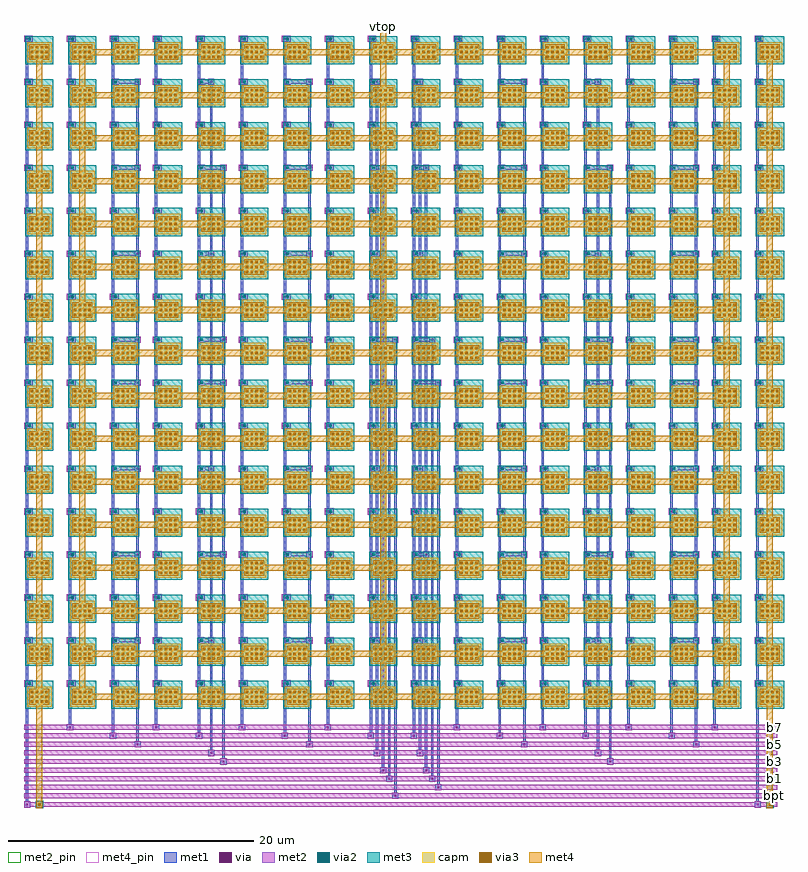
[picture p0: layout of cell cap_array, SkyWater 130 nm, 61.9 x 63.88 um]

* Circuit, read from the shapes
.subckt cap_array VGND b0 b1 b2 b3 b4 b5 b6 b7 bpt vtop
XC1 VGND VGND sky130_fd_pr__cap_mim_m3_1 w=2 l=1.65 m=32
XC2 vtop b7 sky130_fd_pr__cap_mim_m3_1 w=2 l=1.65 m=128
XC3 vtop b6 sky130_fd_pr__cap_mim_m3_1 w=2 l=1.65 m=64
XC4 vtop b5 sky130_fd_pr__cap_mim_m3_1 w=2 l=1.65 m=32
XC5 vtop b4 sky130_fd_pr__cap_mim_m3_1 w=2 l=1.65 m=16
XC6 vtop b3 sky130_fd_pr__cap_mim_m3_1 w=2 l=1.65 m=8
XC7 vtop b2 sky130_fd_pr__cap_mim_m3_1 w=2 l=1.65 m=4
XC8 vtop b1 sky130_fd_pr__cap_mim_m3_1 w=2 l=1.65 m=2
XC9 vtop bpt sky130_fd_pr__cap_mim_m3_1 w=2 l=1.65
XC10 vtop b0 sky130_fd_pr__cap_mim_m3_1 w=2 l=1.65
.ends

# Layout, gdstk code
import gdstk
lib = gdstk.Library(unit=1e-6, precision=1e-09)
def R(c, l, rs):  # rectangles x0, y0, x1, y1
    for r in rs: c.add(gdstk.rectangle(r[:2], r[2:], *l))
def A(c, l, x, y, w, h, nx, ny, dx, dy):  # array of equal rectangles
    R(c, l, [(x+i*dx, y+j*dy, x+i*dx+w, y+j*dy+h) for i in range(nx) for j in range(ny)])
met1 = (68, 20)
via = (68, 44)
met2_pin = (69, 16)
met2 = (69, 20)
via2 = (69, 44)
met3 = (70, 20)
via3 = (70, 44)
met4_pin = (71, 16)
met4 = (71, 20)
capm = (89, 44)

cap_array = lib.new_cell('cap_array')
A(cap_array, met1, 6.9, -2.45, 0.5, 0.5, 4, 1, 7, 0)
A(cap_array, met1, 31.4, -2.45, 0.5, 0.5, 4, 1, 7, 0)
A(cap_array, met1, 7.05, -1.95, 0.2, 3.76, 4, 1, 7, 0)
A(cap_array, met1, 31.55, -1.95, 0.2, 3.76, 4, 1, 7, 0)
A(cap_array, met1, 3.4, -1.75, 0.5, 0.5, 4, 1, 7, 0)
A(cap_array, met1, 34.9, -1.75, 0.5, 0.5, 4, 1, 7, 0)
A(cap_array, met1, 3.55, -1.25, 0.2, 3.06, 4, 1, 7, 0)
A(cap_array, met1, 35.05, -1.25, 0.2, 3.06, 4, 1, 7, 0)
A(cap_array, met1, -0.1, 1.81, 0.5, 0.5, 18, 4, 3.5, 7)
A(cap_array, met1, 0.05, 2.31, 0.2, 3, 1, 15, 0, 3.5)
A(cap_array, met1, 3.55, 2.31, 0.2, 3, 4, 7, 7, 3.5)
A(cap_array, met1, 7.05, 2.31, 0.2, 6.5, 4, 3, 7, 7)
A(cap_array, met1, 31.55, 2.31, 0.2, 6.5, 4, 3, 7, 7)
A(cap_array, met1, 35.05, 2.31, 0.2, 3, 4, 7, 7, 3.5)
A(cap_array, met1, 59.55, 2.31, 0.2, 3, 1, 15, 0, 3.5)
A(cap_array, met1, -0.1, 5.31, 0.5, 0.5, 1, 4, 0, 7)
A(cap_array, met1, 3.4, 5.31, 0.5, 0.5, 1, 4, 0, 7)
A(cap_array, met1, 8.9, 5.31, 0.5, 0.5, 1, 4, 0, 7)
A(cap_array, met1, 10.4, 5.31, 0.5, 0.5, 1, 4, 0, 7)
A(cap_array, met1, 17.4, 5.31, 0.5, 0.5, 1, 4, 0, 7)
A(cap_array, met1, 22.9, 5.31, 0.5, 0.5, 1, 4, 0, 7)
A(cap_array, met1, 24.4, 5.31, 0.5, 0.5, 1, 4, 0, 7)
A(cap_array, met1, 34.9, 5.31, 0.5, 0.5, 1, 4, 0, 7)
A(cap_array, met1, 40.4, 5.31, 0.5, 0.5, 1, 4, 0, 7)
A(cap_array, met1, 41.9, 5.31, 0.5, 0.5, 1, 4, 0, 7)
A(cap_array, met1, 48.9, 5.31, 0.5, 0.5, 1, 4, 0, 7)
A(cap_array, met1, 54.4, 5.31, 0.5, 0.5, 1, 4, 0, 7)
A(cap_array, met1, 55.9, 5.31, 0.5, 0.5, 1, 4, 0, 7)
A(cap_array, met1, 59.4, 5.31, 0.5, 0.5, 1, 4, 0, 7)
A(cap_array, met1, 9.05, 5.81, 0.2, 6.5, 1, 3, 0, 7)
A(cap_array, met1, 23.05, 5.81, 0.2, 6.5, 1, 3, 0, 7)
A(cap_array, met1, 40.55, 5.81, 0.2, 6.5, 1, 3, 0, 7)
A(cap_array, met1, 54.55, 5.81, 0.2, 6.5, 1, 3, 0, 7)
A(cap_array, met1, 7.05, 23.31, 0.2, 10, 4, 1, 7, 0)
A(cap_array, met1, 31.55, 23.31, 0.2, 10, 4, 1, 7, 0)
A(cap_array, met1, -0.1, 29.81, 0.5, 0.5, 1, 4, 0, 7)
A(cap_array, met1, 3.4, 29.81, 0.5, 0.5, 1, 4, 0, 7)
A(cap_array, met1, 8.9, 29.81, 0.5, 0.5, 1, 4, 0, 7)
A(cap_array, met1, 10.4, 29.81, 0.5, 0.5, 1, 4, 0, 7)
A(cap_array, met1, 17.4, 29.81, 0.5, 0.5, 1, 4, 0, 7)
A(cap_array, met1, 22.9, 29.81, 0.5, 0.5, 1, 4, 0, 7)
A(cap_array, met1, 24.4, 29.81, 0.5, 0.5, 1, 4, 0, 7)
A(cap_array, met1, 34.9, 29.81, 0.5, 0.5, 1, 4, 0, 7)
A(cap_array, met1, 40.4, 29.81, 0.5, 0.5, 1, 4, 0, 7)
A(cap_array, met1, 41.9, 29.81, 0.5, 0.5, 1, 4, 0, 7)
A(cap_array, met1, 48.9, 29.81, 0.5, 0.5, 1, 4, 0, 7)
A(cap_array, met1, 54.4, 29.81, 0.5, 0.5, 1, 4, 0, 7)
A(cap_array, met1, 55.9, 29.81, 0.5, 0.5, 1, 4, 0, 7)
A(cap_array, met1, 59.4, 29.81, 0.5, 0.5, 1, 4, 0, 7)
A(cap_array, met1, 3.55, 30.31, 0.2, 3, 4, 7, 7, 3.5)
A(cap_array, met1, 9.05, 30.31, 0.2, 6.5, 1, 3, 0, 7)
A(cap_array, met1, 23.05, 30.31, 0.2, 6.5, 1, 3, 0, 7)
A(cap_array, met1, 35.05, 30.31, 0.2, 3, 4, 7, 7, 3.5)
A(cap_array, met1, 40.55, 30.31, 0.2, 6.5, 1, 3, 0, 7)
A(cap_array, met1, 54.55, 30.31, 0.2, 6.5, 1, 3, 0, 7)
A(cap_array, met1, -0.1, 33.31, 0.5, 0.5, 18, 4, 3.5, 7)
A(cap_array, met1, 7.05, 33.81, 0.2, 6.5, 4, 3, 7, 7)
A(cap_array, met1, 31.55, 33.81, 0.2, 6.5, 4, 3, 7, 7)
R(cap_array, met1, [(-0.1,-8.05,0.4,-7.55), (59.4,-8.05,59.9,-7.55), (0.05,-7.55,0.25,1.81), (59.55,-7.55,59.75,1.81), (29.9,-7.35,30.4,-6.85), (30.05,-6.85,30.25,29.81), (33.4,-6.65,33.9,-6.15), (33.55,-6.15,33.75,26.31), (29.4,-5.95,29.9,-5.45), (32.9,-5.95,33.4,-5.45), (29.55,-5.45,29.75,26.31), (33.05,-5.45,33.25,29.81), (28.9,-5.25,29.4,-4.75), (32.4,-5.25,32.9,-4.75), (29.05,-4.75,29.25,12.31), (32.55,-4.75,32.75,12.31), (15.9,-4.55,16.4,-4.05), (47.4,-4.55,47.9,-4.05), (16.05,-4.05,16.25,12.31), (47.55,-4.05,47.75,12.31), (14.9,-3.85,15.4,-3.35), (28.4,-3.85,28.9,-3.35), (31.9,-3.85,32.4,-3.35), (46.4,-3.85,46.9,-3.35), (15.05,-3.35,15.25,5.31), (28.55,-3.35,28.75,5.31), (32.05,-3.35,32.25,5.31), (46.55,-3.35,46.75,5.31), (8.9,-3.15,9.4,-2.65), (22.9,-3.15,23.4,-2.65), (40.4,-3.15,40.9,-2.65), (54.4,-3.15,54.9,-2.65), (9.05,-2.65,9.25,5.31), (23.05,-2.65,23.25,5.31), (40.55,-2.65,40.75,5.31), (54.55,-2.65,54.75,5.31), (14.9,5.31,15.4,5.81), (28.4,5.31,28.9,5.81), (31.9,5.31,32.4,5.81), (46.4,5.31,46.9,5.81), (15.05,5.81,15.25,19.31), (28.55,5.81,28.75,19.31), (32.05,5.81,32.25,19.31), (46.55,5.81,46.75,19.31), (15.9,12.31,16.4,12.81), (28.9,12.31,29.4,12.81), (32.4,12.31,32.9,12.81), (47.4,12.31,47.9,12.81), (16.05,12.81,16.25,26.31), (29.05,12.81,29.25,43.81), (32.55,12.81,32.75,43.81), (47.55,12.81,47.75,26.31), (14.9,19.31,15.4,19.81), (28.4,19.31,28.9,19.81), (31.9,19.31,32.4,19.81), (46.4,19.31,46.9,19.81), (15.05,19.81,15.25,36.81), (28.55,19.81,28.75,36.81), (32.05,19.81,32.25,36.81), (46.55,19.81,46.75,36.81), (15.9,26.31,16.4,26.81), (29.4,26.31,29.9,26.81), (33.4,26.31,33.9,26.81), (47.4,26.31,47.9,26.81), (3.55,26.81,3.75,29.81), (9.05,26.81,9.25,29.81), (10.55,26.81,10.75,29.81), (16.05,26.81,16.25,29.81), (17.55,26.81,17.75,29.81), (23.05,26.81,23.25,29.81), (24.55,26.81,24.75,29.81), (35.05,26.81,35.25,29.81), (40.55,26.81,40.75,29.81), (42.05,26.81,42.25,29.81), (47.55,26.81,47.75,29.81), (49.05,26.81,49.25,29.81), (54.55,26.81,54.75,29.81), (56.05,26.81,56.25,29.81), (15.9,29.81,16.4,30.31), (29.9,29.81,30.4,30.31), (32.9,29.81,33.4,30.31), (47.4,29.81,47.9,30.31), (16.05,30.31,16.25,43.81), (47.55,30.31,47.75,43.81), (14.9,36.81,15.4,37.31), (28.4,36.81,28.9,37.31), (31.9,36.81,32.4,37.31), (46.4,36.81,46.9,37.31), (15.05,37.31,15.25,50.81), (28.55,37.31,28.75,50.81), (32.05,37.31,32.25,50.81), (46.55,37.31,46.75,50.81), (15.9,43.81,16.4,44.31), (28.9,43.81,29.4,44.31), (32.4,43.81,32.9,44.31), (47.4,43.81,47.9,44.31), (14.9,50.81,15.4,51.31), (28.4,50.81,28.9,51.31), (31.9,50.81,32.4,51.31), (46.4,50.81,46.9,51.31)])
A(cap_array, via, 7.075, -2.275, 0.15, 0.15, 4, 1, 7, 0)
A(cap_array, via, 31.575, -2.275, 0.15, 0.15, 4, 1, 7, 0)
A(cap_array, via, 3.575, -1.575, 0.15, 0.15, 4, 1, 7, 0)
A(cap_array, via, 35.075, -1.575, 0.15, 0.15, 4, 1, 7, 0)
A(cap_array, via, 0.075, 1.985, 0.15, 0.15, 18, 4, 3.5, 7)
A(cap_array, via, 0.075, 5.485, 0.15, 0.15, 1, 4, 0, 7)
A(cap_array, via, 3.575, 5.485, 0.15, 0.15, 1, 4, 0, 7)
A(cap_array, via, 9.075, 5.485, 0.15, 0.15, 1, 4, 0, 7)
A(cap_array, via, 10.575, 5.485, 0.15, 0.15, 1, 4, 0, 7)
A(cap_array, via, 17.575, 5.485, 0.15, 0.15, 1, 4, 0, 7)
A(cap_array, via, 23.075, 5.485, 0.15, 0.15, 1, 4, 0, 7)
A(cap_array, via, 24.575, 5.485, 0.15, 0.15, 1, 4, 0, 7)
A(cap_array, via, 35.075, 5.485, 0.15, 0.15, 1, 4, 0, 7)
A(cap_array, via, 40.575, 5.485, 0.15, 0.15, 1, 4, 0, 7)
A(cap_array, via, 42.075, 5.485, 0.15, 0.15, 1, 4, 0, 7)
A(cap_array, via, 49.075, 5.485, 0.15, 0.15, 1, 4, 0, 7)
A(cap_array, via, 54.575, 5.485, 0.15, 0.15, 1, 4, 0, 7)
A(cap_array, via, 56.075, 5.485, 0.15, 0.15, 1, 4, 0, 7)
A(cap_array, via, 59.575, 5.485, 0.15, 0.15, 1, 4, 0, 7)
A(cap_array, via, 0.075, 29.985, 0.15, 0.15, 1, 4, 0, 7)
A(cap_array, via, 3.575, 29.985, 0.15, 0.15, 1, 4, 0, 7)
A(cap_array, via, 9.075, 29.985, 0.15, 0.15, 1, 4, 0, 7)
A(cap_array, via, 10.575, 29.985, 0.15, 0.15, 1, 4, 0, 7)
A(cap_array, via, 17.575, 29.985, 0.15, 0.15, 1, 4, 0, 7)
A(cap_array, via, 23.075, 29.985, 0.15, 0.15, 1, 4, 0, 7)
A(cap_array, via, 24.575, 29.985, 0.15, 0.15, 1, 4, 0, 7)
A(cap_array, via, 35.075, 29.985, 0.15, 0.15, 1, 4, 0, 7)
A(cap_array, via, 40.575, 29.985, 0.15, 0.15, 1, 4, 0, 7)
A(cap_array, via, 42.075, 29.985, 0.15, 0.15, 1, 4, 0, 7)
A(cap_array, via, 49.075, 29.985, 0.15, 0.15, 1, 4, 0, 7)
A(cap_array, via, 54.575, 29.985, 0.15, 0.15, 1, 4, 0, 7)
A(cap_array, via, 56.075, 29.985, 0.15, 0.15, 1, 4, 0, 7)
A(cap_array, via, 59.575, 29.985, 0.15, 0.15, 1, 4, 0, 7)
A(cap_array, via, 0.075, 33.485, 0.15, 0.15, 18, 4, 3.5, 7)
R(cap_array, via, [(0.075,-7.875,0.225,-7.725), (59.575,-7.875,59.725,-7.725), (30.075,-7.175,30.225,-7.025), (33.575,-6.475,33.725,-6.325), (29.575,-5.775,29.725,-5.625), (33.075,-5.775,33.225,-5.625), (29.075,-5.075,29.225,-4.925), (32.575,-5.075,32.725,-4.925), (16.075,-4.375,16.225,-4.225), (47.575,-4.375,47.725,-4.225), (15.075,-3.675,15.225,-3.525), (28.575,-3.675,28.725,-3.525), (32.075,-3.675,32.225,-3.525), (46.575,-3.675,46.725,-3.525), (9.075,-2.975,9.225,-2.825), (23.075,-2.975,23.225,-2.825), (40.575,-2.975,40.725,-2.825), (54.575,-2.975,54.725,-2.825), (15.075,5.485,15.225,5.635), (28.575,5.485,28.725,5.635), (32.075,5.485,32.225,5.635), (46.575,5.485,46.725,5.635), (16.075,12.485,16.225,12.635), (29.075,12.485,29.225,12.635), (32.575,12.485,32.725,12.635), (47.575,12.485,47.725,12.635), (15.075,19.485,15.225,19.635), (28.575,19.485,28.725,19.635), (32.075,19.485,32.225,19.635), (46.575,19.485,46.725,19.635), (16.075,26.485,16.225,26.635), (29.575,26.485,29.725,26.635), (33.575,26.485,33.725,26.635), (47.575,26.485,47.725,26.635), (16.075,29.985,16.225,30.135), (30.075,29.985,30.225,30.135), (33.075,29.985,33.225,30.135), (47.575,29.985,47.725,30.135), (15.075,36.985,15.225,37.135), (28.575,36.985,28.725,37.135), (32.075,36.985,32.225,37.135), (46.575,36.985,46.725,37.135), (16.075,43.985,16.225,44.135), (29.075,43.985,29.225,44.135), (32.575,43.985,32.725,44.135), (47.575,43.985,47.725,44.135), (15.075,50.985,15.225,51.135), (28.575,50.985,28.725,51.135), (32.075,50.985,32.225,51.135), (46.575,50.985,46.725,51.135)])
A(cap_array, met2_pin, 60.75, -8, 0.5, 0.4, 1, 10, 0, 0.7)
A(cap_array, met2, -0.1, -8, 61.35, 0.4, 1, 10, 0, 0.7)
A(cap_array, met2, 6.9, -2.45, 0.5, 0.05, 4, 2, 7, 0.45)
A(cap_array, met2, 31.4, -2.45, 0.5, 0.05, 4, 2, 7, 0.45)
A(cap_array, met2, 3.4, -1.75, 0.5, 0.05, 4, 2, 7, 0.45)
A(cap_array, met2, 34.9, -1.75, 0.5, 0.05, 4, 2, 7, 0.45)
A(cap_array, met2, -0.1, 1.81, 0.71, 0.5, 18, 4, 3.5, 7)
A(cap_array, met2, -0.1, 5.31, 0.71, 0.5, 1, 4, 0, 7)
A(cap_array, met2, 3.4, 5.31, 0.71, 0.5, 4, 4, 7, 7)
A(cap_array, met2, 34.9, 5.31, 0.71, 0.5, 4, 4, 7, 7)
A(cap_array, met2, 59.4, 5.31, 0.71, 0.5, 1, 4, 0, 7)
A(cap_array, met2, 7.11, 12.41, 2.29, 0.3, 3, 2, 7, 14)
A(cap_array, met2, 38.61, 12.41, 2.29, 0.3, 3, 2, 7, 17.5)
A(cap_array, met2, 31.61, 26.41, 2.29, 0.3, 4, 1, 7, 0)
A(cap_array, met2, -0.1, 29.81, 0.71, 0.5, 1, 4, 0, 7)
A(cap_array, met2, 3.4, 29.81, 0.71, 0.5, 4, 4, 7, 7)
A(cap_array, met2, 34.9, 29.81, 0.71, 0.5, 4, 4, 7, 7)
A(cap_array, met2, 59.4, 29.81, 0.71, 0.5, 1, 4, 0, 7)
A(cap_array, met2, 7.11, 29.91, 2.29, 0.3, 4, 1, 7, 0)
A(cap_array, met2, -0.1, 33.31, 0.71, 0.5, 18, 4, 3.5, 7)
A(cap_array, met2, 7.11, 43.91, 2.29, 0.3, 3, 1, 7, 0)
A(cap_array, met2, 38.61, 43.91, 2.29, 0.3, 3, 1, 7, 0)
R(cap_array, met2, [(-0.1,-8.05,0.4,-8), (0.9,-8.05,1.4,-8), (59.4,-8.05,59.9,-8), (60.4,-8.05,60.9,-8), (-0.1,-7.6,0.4,-7.55), (0.9,-7.6,1.4,-7.55), (59.4,-7.6,59.9,-7.55), (60.4,-7.6,60.9,-7.55), (29.9,-7.35,30.4,-7.3), (29.9,-6.9,30.4,-6.85), (33.4,-6.65,33.9,-6.6), (33.4,-6.2,33.9,-6.15), (29.4,-5.95,29.9,-5.9), (32.9,-5.95,33.4,-5.9), (29.4,-5.5,29.9,-5.45), (32.9,-5.5,33.4,-5.45), (28.9,-5.25,29.4,-5.2), (32.4,-5.25,32.9,-5.2), (28.9,-4.8,29.4,-4.75), (32.4,-4.8,32.9,-4.75), (15.9,-4.55,16.4,-4.5), (47.4,-4.55,47.9,-4.5), (15.9,-4.1,16.4,-4.05), (47.4,-4.1,47.9,-4.05), (14.9,-3.85,15.4,-3.8), (28.4,-3.85,28.9,-3.8), (31.9,-3.85,32.4,-3.8), (46.4,-3.85,46.9,-3.8), (14.9,-3.4,15.4,-3.35), (28.4,-3.4,28.9,-3.35), (31.9,-3.4,32.4,-3.35), (46.4,-3.4,46.9,-3.35), (8.9,-3.15,9.4,-3.1), (22.9,-3.15,23.4,-3.1), (40.4,-3.15,40.9,-3.1), (54.4,-3.15,54.9,-3.1), (8.9,-2.7,9.4,-2.65), (22.9,-2.7,23.4,-2.65), (40.4,-2.7,40.9,-2.65), (54.4,-2.7,54.9,-2.65), (7.11,5.31,7.61,5.41), (8.9,5.31,9.4,5.41), (14.11,5.31,14.61,5.41), (14.9,5.31,15.4,5.41), (21.11,5.31,21.61,5.41), (22.9,5.31,23.4,5.41), (28.11,5.31,28.9,5.81), (31.61,5.31,32.4,5.81), (38.61,5.31,39.11,5.41), (40.4,5.31,40.9,5.41), (45.61,5.31,46.11,5.41), (46.4,5.31,46.9,5.41), (52.61,5.31,53.11,5.41), (54.4,5.31,54.9,5.41), (7.11,5.41,9.4,5.71), (14.11,5.41,15.4,5.71), (21.11,5.41,23.4,5.71), (38.61,5.41,40.9,5.71), (45.61,5.41,46.9,5.71), (52.61,5.41,54.9,5.71), (7.11,5.71,7.61,5.81), (8.9,5.71,9.4,5.81), (14.11,5.71,14.61,5.81), (14.9,5.71,15.4,5.81), (21.11,5.71,21.61,5.81), (22.9,5.71,23.4,5.81), (38.61,5.71,39.11,5.81), (40.4,5.71,40.9,5.81), (45.61,5.71,46.11,5.81), (46.4,5.71,46.9,5.81), (52.61,5.71,53.11,5.81), (54.4,5.71,54.9,5.81), (7.11,12.31,7.61,12.41), (8.9,12.31,9.4,12.41), (14.11,12.31,14.61,12.41), (15.9,12.31,16.4,12.41), (21.11,12.31,21.61,12.41), (22.9,12.31,23.4,12.41), (28.11,12.31,28.61,12.41), (28.9,12.31,29.4,12.41), (31.61,12.31,32.11,12.41), (32.4,12.31,32.9,12.41), (38.61,12.31,39.11,12.41), (40.4,12.31,40.9,12.41), (45.61,12.31,46.11,12.41), (47.4,12.31,47.9,12.41), (52.61,12.31,53.11,12.41), (54.4,12.31,54.9,12.41), (28.11,12.41,29.4,12.71), (31.61,12.41,32.9,12.71), (7.11,12.71,7.61,12.81), (8.9,12.71,9.4,12.81), (14.11,12.71,14.61,12.81), (15.9,12.71,16.4,12.81), (21.11,12.71,21.61,12.81), (22.9,12.71,23.4,12.81), (28.11,12.71,28.61,12.81), (28.9,12.71,29.4,12.81), (31.61,12.71,32.11,12.81), (32.4,12.71,32.9,12.81), (38.61,12.71,39.11,12.81), (40.4,12.71,40.9,12.81), (45.61,12.71,46.11,12.81), (47.4,12.71,47.9,12.81), (52.61,12.71,53.11,12.81), (54.4,12.71,54.9,12.81), (7.11,19.31,7.61,19.41), (8.9,19.31,9.4,19.41), (14.11,19.31,14.61,19.41), (14.9,19.31,15.4,19.41), (21.11,19.31,21.61,19.41), (22.9,19.31,23.4,19.41), (28.11,19.31,28.9,19.81), (31.61,19.31,32.4,19.81), (38.61,19.31,39.11,19.41), (40.4,19.31,40.9,19.41), (45.61,19.31,46.11,19.41), (46.4,19.31,46.9,19.41), (52.61,19.31,53.11,19.41), (54.4,19.31,54.9,19.41), (7.11,19.41,9.4,19.71), (14.11,19.41,15.4,19.71), (21.11,19.41,23.4,19.71), (38.61,19.41,40.9,19.71), (45.61,19.41,46.9,19.71), (52.61,19.41,54.9,19.71), (7.11,19.71,7.61,19.81), (8.9,19.71,9.4,19.81), (14.11,19.71,14.61,19.81), (14.9,19.71,15.4,19.81), (21.11,19.71,21.61,19.81), (22.9,19.71,23.4,19.81), (38.61,19.71,39.11,19.81), (40.4,19.71,40.9,19.81), (45.61,19.71,46.11,19.81), (46.4,19.71,46.9,19.81), (52.61,19.71,53.11,19.81), (54.4,19.71,54.9,19.81), (7.11,26.31,7.61,26.41), (8.9,26.31,9.4,26.41), (14.11,26.31,14.61,26.41), (15.9,26.31,16.4,26.41), (21.11,26.31,21.61,26.41), (22.9,26.31,23.4,26.41), (28.11,26.31,28.61,26.41), (29.4,26.31,29.9,26.41), (31.61,26.31,32.11,26.41), (33.4,26.31,33.9,26.41), (38.61,26.31,39.11,26.41), (40.4,26.31,40.9,26.41), (45.61,26.31,46.11,26.41), (47.4,26.31,47.9,26.41), (52.61,26.31,53.11,26.41), (54.4,26.31,54.9,26.41), (28.11,26.41,29.9,26.71), (7.11,26.71,7.61,26.81), (8.9,26.71,9.4,26.81), (14.11,26.71,14.61,26.81), (15.9,26.71,16.4,26.81), (21.11,26.71,21.61,26.81), (22.9,26.71,23.4,26.81), (28.11,26.71,28.61,26.81), (29.4,26.71,29.9,26.81), (31.61,26.71,32.11,26.81), (33.4,26.71,33.9,26.81), (38.61,26.71,39.11,26.81), (40.4,26.71,40.9,26.81), (45.61,26.71,46.11,26.81), (47.4,26.71,47.9,26.81), (52.61,26.71,53.11,26.81), (54.4,26.71,54.9,26.81), (7.11,29.81,7.61,29.91), (8.9,29.81,9.4,29.91), (14.11,29.81,14.61,29.91), (15.9,29.81,16.4,29.91), (21.11,29.81,21.61,29.91), (22.9,29.81,23.4,29.91), (28.11,29.81,28.61,29.91), (29.9,29.81,30.4,29.91), (31.61,29.81,32.11,29.91), (32.9,29.81,33.4,29.91), (38.61,29.81,39.11,29.91), (40.4,29.81,40.9,29.91), (45.61,29.81,46.11,29.91), (47.4,29.81,47.9,29.91), (52.61,29.81,53.11,29.91), (54.4,29.81,54.9,29.91), (31.61,29.91,33.4,30.21), (7.11,30.21,7.61,30.31), (8.9,30.21,9.4,30.31), (14.11,30.21,14.61,30.31), (15.9,30.21,16.4,30.31), (21.11,30.21,21.61,30.31), (22.9,30.21,23.4,30.31), (28.11,30.21,28.61,30.31), (29.9,30.21,30.4,30.31), (31.61,30.21,32.11,30.31), (32.9,30.21,33.4,30.31), (38.61,30.21,39.11,30.31), (40.4,30.21,40.9,30.31), (45.61,30.21,46.11,30.31), (47.4,30.21,47.9,30.31), (52.61,30.21,53.11,30.31), (54.4,30.21,54.9,30.31), (7.11,36.81,7.61,36.91), (8.9,36.81,9.4,36.91), (14.11,36.81,14.61,36.91), (14.9,36.81,15.4,36.91), (21.11,36.81,21.61,36.91), (22.9,36.81,23.4,36.91), (28.11,36.81,28.9,37.31), (31.61,36.81,32.4,37.31), (38.61,36.81,39.11,36.91), (40.4,36.81,40.9,36.91), (45.61,36.81,46.11,36.91), (46.4,36.81,46.9,36.91), (52.61,36.81,53.11,36.91), (54.4,36.81,54.9,36.91), (7.11,36.91,9.4,37.21), (14.11,36.91,15.4,37.21), (21.11,36.91,23.4,37.21), (38.61,36.91,40.9,37.21), (45.61,36.91,46.9,37.21), (52.61,36.91,54.9,37.21), (7.11,37.21,7.61,37.31), (8.9,37.21,9.4,37.31), (14.11,37.21,14.61,37.31), (14.9,37.21,15.4,37.31), (21.11,37.21,21.61,37.31), (22.9,37.21,23.4,37.31), (38.61,37.21,39.11,37.31), (40.4,37.21,40.9,37.31), (45.61,37.21,46.11,37.31), (46.4,37.21,46.9,37.31), (52.61,37.21,53.11,37.31), (54.4,37.21,54.9,37.31), (7.11,43.81,7.61,43.91), (8.9,43.81,9.4,43.91), (14.11,43.81,14.61,43.91), (15.9,43.81,16.4,43.91), (21.11,43.81,21.61,43.91), (22.9,43.81,23.4,43.91), (28.11,43.81,28.61,43.91), (28.9,43.81,29.4,43.91), (31.61,43.81,32.11,43.91), (32.4,43.81,32.9,43.91), (38.61,43.81,39.11,43.91), (40.4,43.81,40.9,43.91), (45.61,43.81,46.11,43.91), (47.4,43.81,47.9,43.91), (52.61,43.81,53.11,43.91), (54.4,43.81,54.9,43.91), (28.11,43.91,29.4,44.21), (31.61,43.91,32.9,44.21), (7.11,44.21,7.61,44.31), (8.9,44.21,9.4,44.31), (14.11,44.21,14.61,44.31), (15.9,44.21,16.4,44.31), (21.11,44.21,21.61,44.31), (22.9,44.21,23.4,44.31), (28.11,44.21,28.61,44.31), (28.9,44.21,29.4,44.31), (31.61,44.21,32.11,44.31), (32.4,44.21,32.9,44.31), (38.61,44.21,39.11,44.31), (40.4,44.21,40.9,44.31), (45.61,44.21,46.11,44.31), (47.4,44.21,47.9,44.31), (52.61,44.21,53.11,44.31), (54.4,44.21,54.9,44.31), (7.11,50.81,7.61,50.91), (8.9,50.81,9.4,50.91), (14.11,50.81,14.61,50.91), (14.9,50.81,15.4,50.91), (21.11,50.81,21.61,50.91), (22.9,50.81,23.4,50.91), (28.11,50.81,28.9,51.31), (31.61,50.81,32.4,51.31), (38.61,50.81,39.11,50.91), (40.4,50.81,40.9,50.91), (45.61,50.81,46.11,50.91), (46.4,50.81,46.9,50.91), (52.61,50.81,53.11,50.91), (54.4,50.81,54.9,50.91), (7.11,50.91,9.4,51.21), (14.11,50.91,15.4,51.21), (21.11,50.91,23.4,51.21), (38.61,50.91,40.9,51.21), (45.61,50.91,46.9,51.21), (52.61,50.91,54.9,51.21), (7.11,51.21,7.61,51.31), (8.9,51.21,9.4,51.31), (14.11,51.21,14.61,51.31), (14.9,51.21,15.4,51.31), (21.11,51.21,21.61,51.31), (22.9,51.21,23.4,51.31), (38.61,51.21,39.11,51.31), (40.4,51.21,40.9,51.31), (45.61,51.21,46.11,51.31), (46.4,51.21,46.9,51.31), (52.61,51.21,53.11,51.31), (54.4,51.21,54.9,51.31)])
A(cap_array, via2, 0.26, 1.96, 0.2, 0.2, 18, 16, 3.5, 3.5)
R(cap_array, via2, [(1.05,-7.9,1.25,-7.7), (60.55,-7.9,60.75,-7.7)])
A(cap_array, met3, 0, 0, 2.3, 2.285, 18, 16, 3.5, 3.5)
R(cap_array, met3, [(0.85,-8.1,1.45,-7.5), (60.35,-8.1,60.95,-7.5)])
A(cap_array, via3, 0.45, 0.475, 0.2, 0.2, 4, 3, 0.4, 0.4)
A(cap_array, via3, 3.95, 0.475, 0.2, 0.2, 4, 3, 0.4, 0.4)
A(cap_array, via3, 7.45, 0.475, 0.2, 0.2, 4, 3, 0.4, 0.4)
A(cap_array, via3, 10.95, 0.475, 0.2, 0.2, 4, 3, 0.4, 0.4)
A(cap_array, via3, 14.45, 0.475, 0.2, 0.2, 4, 3, 0.4, 0.4)
A(cap_array, via3, 17.95, 0.475, 0.2, 0.2, 4, 3, 0.4, 0.4)
A(cap_array, via3, 21.45, 0.475, 0.2, 0.2, 4, 3, 0.4, 0.4)
A(cap_array, via3, 24.95, 0.475, 0.2, 0.2, 4, 3, 0.4, 0.4)
A(cap_array, via3, 28.45, 0.475, 0.2, 0.2, 4, 3, 0.4, 0.4)
A(cap_array, via3, 31.95, 0.475, 0.2, 0.2, 4, 3, 0.4, 0.4)
A(cap_array, via3, 35.45, 0.475, 0.2, 0.2, 4, 3, 0.4, 0.4)
A(cap_array, via3, 38.95, 0.475, 0.2, 0.2, 4, 3, 0.4, 0.4)
A(cap_array, via3, 42.45, 0.475, 0.2, 0.2, 4, 3, 0.4, 0.4)
A(cap_array, via3, 45.95, 0.475, 0.2, 0.2, 4, 3, 0.4, 0.4)
A(cap_array, via3, 49.45, 0.475, 0.2, 0.2, 4, 3, 0.4, 0.4)
A(cap_array, via3, 52.95, 0.475, 0.2, 0.2, 4, 3, 0.4, 0.4)
A(cap_array, via3, 56.45, 0.475, 0.2, 0.2, 4, 3, 0.4, 0.4)
A(cap_array, via3, 59.95, 0.475, 0.2, 0.2, 4, 3, 0.4, 0.4)
A(cap_array, via3, 0.45, 3.975, 0.2, 0.2, 4, 3, 0.4, 0.4)
A(cap_array, via3, 3.95, 3.975, 0.2, 0.2, 4, 3, 0.4, 0.4)
A(cap_array, via3, 7.45, 3.975, 0.2, 0.2, 4, 3, 0.4, 0.4)
A(cap_array, via3, 10.95, 3.975, 0.2, 0.2, 4, 3, 0.4, 0.4)
A(cap_array, via3, 14.45, 3.975, 0.2, 0.2, 4, 3, 0.4, 0.4)
A(cap_array, via3, 17.95, 3.975, 0.2, 0.2, 4, 3, 0.4, 0.4)
A(cap_array, via3, 21.45, 3.975, 0.2, 0.2, 4, 3, 0.4, 0.4)
A(cap_array, via3, 24.95, 3.975, 0.2, 0.2, 4, 3, 0.4, 0.4)
A(cap_array, via3, 28.45, 3.975, 0.2, 0.2, 4, 3, 0.4, 0.4)
A(cap_array, via3, 31.95, 3.975, 0.2, 0.2, 4, 3, 0.4, 0.4)
A(cap_array, via3, 35.45, 3.975, 0.2, 0.2, 4, 3, 0.4, 0.4)
A(cap_array, via3, 38.95, 3.975, 0.2, 0.2, 4, 3, 0.4, 0.4)
A(cap_array, via3, 42.45, 3.975, 0.2, 0.2, 4, 3, 0.4, 0.4)
A(cap_array, via3, 45.95, 3.975, 0.2, 0.2, 4, 3, 0.4, 0.4)
A(cap_array, via3, 49.45, 3.975, 0.2, 0.2, 4, 3, 0.4, 0.4)
A(cap_array, via3, 52.95, 3.975, 0.2, 0.2, 4, 3, 0.4, 0.4)
A(cap_array, via3, 56.45, 3.975, 0.2, 0.2, 4, 3, 0.4, 0.4)
A(cap_array, via3, 59.95, 3.975, 0.2, 0.2, 4, 3, 0.4, 0.4)
A(cap_array, via3, 0.45, 7.475, 0.2, 0.2, 4, 3, 0.4, 0.4)
A(cap_array, via3, 3.95, 7.475, 0.2, 0.2, 4, 3, 0.4, 0.4)
A(cap_array, via3, 7.45, 7.475, 0.2, 0.2, 4, 3, 0.4, 0.4)
A(cap_array, via3, 10.95, 7.475, 0.2, 0.2, 4, 3, 0.4, 0.4)
A(cap_array, via3, 14.45, 7.475, 0.2, 0.2, 4, 3, 0.4, 0.4)
A(cap_array, via3, 17.95, 7.475, 0.2, 0.2, 4, 3, 0.4, 0.4)
A(cap_array, via3, 21.45, 7.475, 0.2, 0.2, 4, 3, 0.4, 0.4)
A(cap_array, via3, 24.95, 7.475, 0.2, 0.2, 4, 3, 0.4, 0.4)
A(cap_array, via3, 28.45, 7.475, 0.2, 0.2, 4, 3, 0.4, 0.4)
A(cap_array, via3, 31.95, 7.475, 0.2, 0.2, 4, 3, 0.4, 0.4)
A(cap_array, via3, 35.45, 7.475, 0.2, 0.2, 4, 3, 0.4, 0.4)
A(cap_array, via3, 38.95, 7.475, 0.2, 0.2, 4, 3, 0.4, 0.4)
A(cap_array, via3, 42.45, 7.475, 0.2, 0.2, 4, 3, 0.4, 0.4)
A(cap_array, via3, 45.95, 7.475, 0.2, 0.2, 4, 3, 0.4, 0.4)
A(cap_array, via3, 49.45, 7.475, 0.2, 0.2, 4, 3, 0.4, 0.4)
A(cap_array, via3, 52.95, 7.475, 0.2, 0.2, 4, 3, 0.4, 0.4)
A(cap_array, via3, 56.45, 7.475, 0.2, 0.2, 4, 3, 0.4, 0.4)
A(cap_array, via3, 59.95, 7.475, 0.2, 0.2, 4, 3, 0.4, 0.4)
A(cap_array, via3, 0.45, 10.975, 0.2, 0.2, 4, 3, 0.4, 0.4)
A(cap_array, via3, 3.95, 10.975, 0.2, 0.2, 4, 3, 0.4, 0.4)
A(cap_array, via3, 7.45, 10.975, 0.2, 0.2, 4, 3, 0.4, 0.4)
A(cap_array, via3, 10.95, 10.975, 0.2, 0.2, 4, 3, 0.4, 0.4)
A(cap_array, via3, 14.45, 10.975, 0.2, 0.2, 4, 3, 0.4, 0.4)
A(cap_array, via3, 17.95, 10.975, 0.2, 0.2, 4, 3, 0.4, 0.4)
A(cap_array, via3, 21.45, 10.975, 0.2, 0.2, 4, 3, 0.4, 0.4)
A(cap_array, via3, 24.95, 10.975, 0.2, 0.2, 4, 3, 0.4, 0.4)
A(cap_array, via3, 28.45, 10.975, 0.2, 0.2, 4, 3, 0.4, 0.4)
A(cap_array, via3, 31.95, 10.975, 0.2, 0.2, 4, 3, 0.4, 0.4)
A(cap_array, via3, 35.45, 10.975, 0.2, 0.2, 4, 3, 0.4, 0.4)
A(cap_array, via3, 38.95, 10.975, 0.2, 0.2, 4, 3, 0.4, 0.4)
A(cap_array, via3, 42.45, 10.975, 0.2, 0.2, 4, 3, 0.4, 0.4)
A(cap_array, via3, 45.95, 10.975, 0.2, 0.2, 4, 3, 0.4, 0.4)
A(cap_array, via3, 49.45, 10.975, 0.2, 0.2, 4, 3, 0.4, 0.4)
A(cap_array, via3, 52.95, 10.975, 0.2, 0.2, 4, 3, 0.4, 0.4)
A(cap_array, via3, 56.45, 10.975, 0.2, 0.2, 4, 3, 0.4, 0.4)
A(cap_array, via3, 59.95, 10.975, 0.2, 0.2, 4, 3, 0.4, 0.4)
A(cap_array, via3, 0.45, 14.475, 0.2, 0.2, 4, 3, 0.4, 0.4)
A(cap_array, via3, 3.95, 14.475, 0.2, 0.2, 4, 3, 0.4, 0.4)
A(cap_array, via3, 7.45, 14.475, 0.2, 0.2, 4, 3, 0.4, 0.4)
A(cap_array, via3, 10.95, 14.475, 0.2, 0.2, 4, 3, 0.4, 0.4)
A(cap_array, via3, 14.45, 14.475, 0.2, 0.2, 4, 3, 0.4, 0.4)
A(cap_array, via3, 17.95, 14.475, 0.2, 0.2, 4, 3, 0.4, 0.4)
A(cap_array, via3, 21.45, 14.475, 0.2, 0.2, 4, 3, 0.4, 0.4)
A(cap_array, via3, 24.95, 14.475, 0.2, 0.2, 4, 3, 0.4, 0.4)
A(cap_array, via3, 28.45, 14.475, 0.2, 0.2, 4, 3, 0.4, 0.4)
A(cap_array, via3, 31.95, 14.475, 0.2, 0.2, 4, 3, 0.4, 0.4)
A(cap_array, via3, 35.45, 14.475, 0.2, 0.2, 4, 3, 0.4, 0.4)
A(cap_array, via3, 38.95, 14.475, 0.2, 0.2, 4, 3, 0.4, 0.4)
A(cap_array, via3, 42.45, 14.475, 0.2, 0.2, 4, 3, 0.4, 0.4)
A(cap_array, via3, 45.95, 14.475, 0.2, 0.2, 4, 3, 0.4, 0.4)
A(cap_array, via3, 49.45, 14.475, 0.2, 0.2, 4, 3, 0.4, 0.4)
A(cap_array, via3, 52.95, 14.475, 0.2, 0.2, 4, 3, 0.4, 0.4)
A(cap_array, via3, 56.45, 14.475, 0.2, 0.2, 4, 3, 0.4, 0.4)
A(cap_array, via3, 59.95, 14.475, 0.2, 0.2, 4, 3, 0.4, 0.4)
A(cap_array, via3, 0.45, 17.975, 0.2, 0.2, 4, 3, 0.4, 0.4)
A(cap_array, via3, 3.95, 17.975, 0.2, 0.2, 4, 3, 0.4, 0.4)
A(cap_array, via3, 7.45, 17.975, 0.2, 0.2, 4, 3, 0.4, 0.4)
A(cap_array, via3, 10.95, 17.975, 0.2, 0.2, 4, 3, 0.4, 0.4)
A(cap_array, via3, 14.45, 17.975, 0.2, 0.2, 4, 3, 0.4, 0.4)
A(cap_array, via3, 17.95, 17.975, 0.2, 0.2, 4, 3, 0.4, 0.4)
A(cap_array, via3, 21.45, 17.975, 0.2, 0.2, 4, 3, 0.4, 0.4)
A(cap_array, via3, 24.95, 17.975, 0.2, 0.2, 4, 3, 0.4, 0.4)
A(cap_array, via3, 28.45, 17.975, 0.2, 0.2, 4, 3, 0.4, 0.4)
A(cap_array, via3, 31.95, 17.975, 0.2, 0.2, 4, 3, 0.4, 0.4)
A(cap_array, via3, 35.45, 17.975, 0.2, 0.2, 4, 3, 0.4, 0.4)
A(cap_array, via3, 38.95, 17.975, 0.2, 0.2, 4, 3, 0.4, 0.4)
A(cap_array, via3, 42.45, 17.975, 0.2, 0.2, 4, 3, 0.4, 0.4)
A(cap_array, via3, 45.95, 17.975, 0.2, 0.2, 4, 3, 0.4, 0.4)
A(cap_array, via3, 49.45, 17.975, 0.2, 0.2, 4, 3, 0.4, 0.4)
A(cap_array, via3, 52.95, 17.975, 0.2, 0.2, 4, 3, 0.4, 0.4)
A(cap_array, via3, 56.45, 17.975, 0.2, 0.2, 4, 3, 0.4, 0.4)
A(cap_array, via3, 59.95, 17.975, 0.2, 0.2, 4, 3, 0.4, 0.4)
A(cap_array, via3, 0.45, 21.475, 0.2, 0.2, 4, 3, 0.4, 0.4)
A(cap_array, via3, 3.95, 21.475, 0.2, 0.2, 4, 3, 0.4, 0.4)
A(cap_array, via3, 7.45, 21.475, 0.2, 0.2, 4, 3, 0.4, 0.4)
A(cap_array, via3, 10.95, 21.475, 0.2, 0.2, 4, 3, 0.4, 0.4)
A(cap_array, via3, 14.45, 21.475, 0.2, 0.2, 4, 3, 0.4, 0.4)
A(cap_array, via3, 17.95, 21.475, 0.2, 0.2, 4, 3, 0.4, 0.4)
A(cap_array, via3, 21.45, 21.475, 0.2, 0.2, 4, 3, 0.4, 0.4)
A(cap_array, via3, 24.95, 21.475, 0.2, 0.2, 4, 3, 0.4, 0.4)
A(cap_array, via3, 28.45, 21.475, 0.2, 0.2, 4, 3, 0.4, 0.4)
A(cap_array, via3, 31.95, 21.475, 0.2, 0.2, 4, 3, 0.4, 0.4)
A(cap_array, via3, 35.45, 21.475, 0.2, 0.2, 4, 3, 0.4, 0.4)
A(cap_array, via3, 38.95, 21.475, 0.2, 0.2, 4, 3, 0.4, 0.4)
A(cap_array, via3, 42.45, 21.475, 0.2, 0.2, 4, 3, 0.4, 0.4)
A(cap_array, via3, 45.95, 21.475, 0.2, 0.2, 4, 3, 0.4, 0.4)
A(cap_array, via3, 49.45, 21.475, 0.2, 0.2, 4, 3, 0.4, 0.4)
A(cap_array, via3, 52.95, 21.475, 0.2, 0.2, 4, 3, 0.4, 0.4)
A(cap_array, via3, 56.45, 21.475, 0.2, 0.2, 4, 3, 0.4, 0.4)
A(cap_array, via3, 59.95, 21.475, 0.2, 0.2, 4, 3, 0.4, 0.4)
A(cap_array, via3, 0.45, 24.975, 0.2, 0.2, 4, 3, 0.4, 0.4)
A(cap_array, via3, 3.95, 24.975, 0.2, 0.2, 4, 3, 0.4, 0.4)
A(cap_array, via3, 7.45, 24.975, 0.2, 0.2, 4, 3, 0.4, 0.4)
A(cap_array, via3, 10.95, 24.975, 0.2, 0.2, 4, 3, 0.4, 0.4)
A(cap_array, via3, 14.45, 24.975, 0.2, 0.2, 4, 3, 0.4, 0.4)
A(cap_array, via3, 17.95, 24.975, 0.2, 0.2, 4, 3, 0.4, 0.4)
A(cap_array, via3, 21.45, 24.975, 0.2, 0.2, 4, 3, 0.4, 0.4)
A(cap_array, via3, 24.95, 24.975, 0.2, 0.2, 4, 3, 0.4, 0.4)
A(cap_array, via3, 28.45, 24.975, 0.2, 0.2, 4, 3, 0.4, 0.4)
A(cap_array, via3, 31.95, 24.975, 0.2, 0.2, 4, 3, 0.4, 0.4)
A(cap_array, via3, 35.45, 24.975, 0.2, 0.2, 4, 3, 0.4, 0.4)
A(cap_array, via3, 38.95, 24.975, 0.2, 0.2, 4, 3, 0.4, 0.4)
A(cap_array, via3, 42.45, 24.975, 0.2, 0.2, 4, 3, 0.4, 0.4)
A(cap_array, via3, 45.95, 24.975, 0.2, 0.2, 4, 3, 0.4, 0.4)
A(cap_array, via3, 49.45, 24.975, 0.2, 0.2, 4, 3, 0.4, 0.4)
A(cap_array, via3, 52.95, 24.975, 0.2, 0.2, 4, 3, 0.4, 0.4)
A(cap_array, via3, 56.45, 24.975, 0.2, 0.2, 4, 3, 0.4, 0.4)
A(cap_array, via3, 59.95, 24.975, 0.2, 0.2, 4, 3, 0.4, 0.4)
A(cap_array, via3, 0.45, 28.475, 0.2, 0.2, 4, 3, 0.4, 0.4)
A(cap_array, via3, 3.95, 28.475, 0.2, 0.2, 4, 3, 0.4, 0.4)
A(cap_array, via3, 7.45, 28.475, 0.2, 0.2, 4, 3, 0.4, 0.4)
A(cap_array, via3, 10.95, 28.475, 0.2, 0.2, 4, 3, 0.4, 0.4)
A(cap_array, via3, 14.45, 28.475, 0.2, 0.2, 4, 3, 0.4, 0.4)
A(cap_array, via3, 17.95, 28.475, 0.2, 0.2, 4, 3, 0.4, 0.4)
A(cap_array, via3, 21.45, 28.475, 0.2, 0.2, 4, 3, 0.4, 0.4)
A(cap_array, via3, 24.95, 28.475, 0.2, 0.2, 4, 3, 0.4, 0.4)
A(cap_array, via3, 28.45, 28.475, 0.2, 0.2, 4, 3, 0.4, 0.4)
A(cap_array, via3, 31.95, 28.475, 0.2, 0.2, 4, 3, 0.4, 0.4)
A(cap_array, via3, 35.45, 28.475, 0.2, 0.2, 4, 3, 0.4, 0.4)
A(cap_array, via3, 38.95, 28.475, 0.2, 0.2, 4, 3, 0.4, 0.4)
A(cap_array, via3, 42.45, 28.475, 0.2, 0.2, 4, 3, 0.4, 0.4)
A(cap_array, via3, 45.95, 28.475, 0.2, 0.2, 4, 3, 0.4, 0.4)
A(cap_array, via3, 49.45, 28.475, 0.2, 0.2, 4, 3, 0.4, 0.4)
A(cap_array, via3, 52.95, 28.475, 0.2, 0.2, 4, 3, 0.4, 0.4)
A(cap_array, via3, 56.45, 28.475, 0.2, 0.2, 4, 3, 0.4, 0.4)
A(cap_array, via3, 59.95, 28.475, 0.2, 0.2, 4, 3, 0.4, 0.4)
A(cap_array, via3, 0.45, 31.975, 0.2, 0.2, 4, 3, 0.4, 0.4)
A(cap_array, via3, 3.95, 31.975, 0.2, 0.2, 4, 3, 0.4, 0.4)
A(cap_array, via3, 7.45, 31.975, 0.2, 0.2, 4, 3, 0.4, 0.4)
A(cap_array, via3, 10.95, 31.975, 0.2, 0.2, 4, 3, 0.4, 0.4)
A(cap_array, via3, 14.45, 31.975, 0.2, 0.2, 4, 3, 0.4, 0.4)
A(cap_array, via3, 17.95, 31.975, 0.2, 0.2, 4, 3, 0.4, 0.4)
A(cap_array, via3, 21.45, 31.975, 0.2, 0.2, 4, 3, 0.4, 0.4)
A(cap_array, via3, 24.95, 31.975, 0.2, 0.2, 4, 3, 0.4, 0.4)
A(cap_array, via3, 28.45, 31.975, 0.2, 0.2, 4, 3, 0.4, 0.4)
A(cap_array, via3, 31.95, 31.975, 0.2, 0.2, 4, 3, 0.4, 0.4)
A(cap_array, via3, 35.45, 31.975, 0.2, 0.2, 4, 3, 0.4, 0.4)
A(cap_array, via3, 38.95, 31.975, 0.2, 0.2, 4, 3, 0.4, 0.4)
A(cap_array, via3, 42.45, 31.975, 0.2, 0.2, 4, 3, 0.4, 0.4)
A(cap_array, via3, 45.95, 31.975, 0.2, 0.2, 4, 3, 0.4, 0.4)
A(cap_array, via3, 49.45, 31.975, 0.2, 0.2, 4, 3, 0.4, 0.4)
A(cap_array, via3, 52.95, 31.975, 0.2, 0.2, 4, 3, 0.4, 0.4)
A(cap_array, via3, 56.45, 31.975, 0.2, 0.2, 4, 3, 0.4, 0.4)
A(cap_array, via3, 59.95, 31.975, 0.2, 0.2, 4, 3, 0.4, 0.4)
A(cap_array, via3, 0.45, 35.475, 0.2, 0.2, 4, 3, 0.4, 0.4)
A(cap_array, via3, 3.95, 35.475, 0.2, 0.2, 4, 3, 0.4, 0.4)
A(cap_array, via3, 7.45, 35.475, 0.2, 0.2, 4, 3, 0.4, 0.4)
A(cap_array, via3, 10.95, 35.475, 0.2, 0.2, 4, 3, 0.4, 0.4)
A(cap_array, via3, 14.45, 35.475, 0.2, 0.2, 4, 3, 0.4, 0.4)
A(cap_array, via3, 17.95, 35.475, 0.2, 0.2, 4, 3, 0.4, 0.4)
A(cap_array, via3, 21.45, 35.475, 0.2, 0.2, 4, 3, 0.4, 0.4)
A(cap_array, via3, 24.95, 35.475, 0.2, 0.2, 4, 3, 0.4, 0.4)
A(cap_array, via3, 28.45, 35.475, 0.2, 0.2, 4, 3, 0.4, 0.4)
A(cap_array, via3, 31.95, 35.475, 0.2, 0.2, 4, 3, 0.4, 0.4)
A(cap_array, via3, 35.45, 35.475, 0.2, 0.2, 4, 3, 0.4, 0.4)
A(cap_array, via3, 38.95, 35.475, 0.2, 0.2, 4, 3, 0.4, 0.4)
A(cap_array, via3, 42.45, 35.475, 0.2, 0.2, 4, 3, 0.4, 0.4)
A(cap_array, via3, 45.95, 35.475, 0.2, 0.2, 4, 3, 0.4, 0.4)
A(cap_array, via3, 49.45, 35.475, 0.2, 0.2, 4, 3, 0.4, 0.4)
A(cap_array, via3, 52.95, 35.475, 0.2, 0.2, 4, 3, 0.4, 0.4)
A(cap_array, via3, 56.45, 35.475, 0.2, 0.2, 4, 3, 0.4, 0.4)
A(cap_array, via3, 59.95, 35.475, 0.2, 0.2, 4, 3, 0.4, 0.4)
A(cap_array, via3, 0.45, 38.975, 0.2, 0.2, 4, 3, 0.4, 0.4)
A(cap_array, via3, 3.95, 38.975, 0.2, 0.2, 4, 3, 0.4, 0.4)
A(cap_array, via3, 7.45, 38.975, 0.2, 0.2, 4, 3, 0.4, 0.4)
A(cap_array, via3, 10.95, 38.975, 0.2, 0.2, 4, 3, 0.4, 0.4)
A(cap_array, via3, 14.45, 38.975, 0.2, 0.2, 4, 3, 0.4, 0.4)
A(cap_array, via3, 17.95, 38.975, 0.2, 0.2, 4, 3, 0.4, 0.4)
A(cap_array, via3, 21.45, 38.975, 0.2, 0.2, 4, 3, 0.4, 0.4)
A(cap_array, via3, 24.95, 38.975, 0.2, 0.2, 4, 3, 0.4, 0.4)
A(cap_array, via3, 28.45, 38.975, 0.2, 0.2, 4, 3, 0.4, 0.4)
A(cap_array, via3, 31.95, 38.975, 0.2, 0.2, 4, 3, 0.4, 0.4)
A(cap_array, via3, 35.45, 38.975, 0.2, 0.2, 4, 3, 0.4, 0.4)
A(cap_array, via3, 38.95, 38.975, 0.2, 0.2, 4, 3, 0.4, 0.4)
A(cap_array, via3, 42.45, 38.975, 0.2, 0.2, 4, 3, 0.4, 0.4)
A(cap_array, via3, 45.95, 38.975, 0.2, 0.2, 4, 3, 0.4, 0.4)
A(cap_array, via3, 49.45, 38.975, 0.2, 0.2, 4, 3, 0.4, 0.4)
A(cap_array, via3, 52.95, 38.975, 0.2, 0.2, 4, 3, 0.4, 0.4)
A(cap_array, via3, 56.45, 38.975, 0.2, 0.2, 4, 3, 0.4, 0.4)
A(cap_array, via3, 59.95, 38.975, 0.2, 0.2, 4, 3, 0.4, 0.4)
A(cap_array, via3, 0.45, 42.475, 0.2, 0.2, 4, 3, 0.4, 0.4)
A(cap_array, via3, 3.95, 42.475, 0.2, 0.2, 4, 3, 0.4, 0.4)
A(cap_array, via3, 7.45, 42.475, 0.2, 0.2, 4, 3, 0.4, 0.4)
A(cap_array, via3, 10.95, 42.475, 0.2, 0.2, 4, 3, 0.4, 0.4)
A(cap_array, via3, 14.45, 42.475, 0.2, 0.2, 4, 3, 0.4, 0.4)
A(cap_array, via3, 17.95, 42.475, 0.2, 0.2, 4, 3, 0.4, 0.4)
A(cap_array, via3, 21.45, 42.475, 0.2, 0.2, 4, 3, 0.4, 0.4)
A(cap_array, via3, 24.95, 42.475, 0.2, 0.2, 4, 3, 0.4, 0.4)
A(cap_array, via3, 28.45, 42.475, 0.2, 0.2, 4, 3, 0.4, 0.4)
A(cap_array, via3, 31.95, 42.475, 0.2, 0.2, 4, 3, 0.4, 0.4)
A(cap_array, via3, 35.45, 42.475, 0.2, 0.2, 4, 3, 0.4, 0.4)
A(cap_array, via3, 38.95, 42.475, 0.2, 0.2, 4, 3, 0.4, 0.4)
A(cap_array, via3, 42.45, 42.475, 0.2, 0.2, 4, 3, 0.4, 0.4)
A(cap_array, via3, 45.95, 42.475, 0.2, 0.2, 4, 3, 0.4, 0.4)
A(cap_array, via3, 49.45, 42.475, 0.2, 0.2, 4, 3, 0.4, 0.4)
A(cap_array, via3, 52.95, 42.475, 0.2, 0.2, 4, 3, 0.4, 0.4)
A(cap_array, via3, 56.45, 42.475, 0.2, 0.2, 4, 3, 0.4, 0.4)
A(cap_array, via3, 59.95, 42.475, 0.2, 0.2, 4, 3, 0.4, 0.4)
A(cap_array, via3, 0.45, 45.975, 0.2, 0.2, 4, 3, 0.4, 0.4)
A(cap_array, via3, 3.95, 45.975, 0.2, 0.2, 4, 3, 0.4, 0.4)
A(cap_array, via3, 7.45, 45.975, 0.2, 0.2, 4, 3, 0.4, 0.4)
A(cap_array, via3, 10.95, 45.975, 0.2, 0.2, 4, 3, 0.4, 0.4)
A(cap_array, via3, 14.45, 45.975, 0.2, 0.2, 4, 3, 0.4, 0.4)
A(cap_array, via3, 17.95, 45.975, 0.2, 0.2, 4, 3, 0.4, 0.4)
A(cap_array, via3, 21.45, 45.975, 0.2, 0.2, 4, 3, 0.4, 0.4)
A(cap_array, via3, 24.95, 45.975, 0.2, 0.2, 4, 3, 0.4, 0.4)
A(cap_array, via3, 28.45, 45.975, 0.2, 0.2, 4, 3, 0.4, 0.4)
A(cap_array, via3, 31.95, 45.975, 0.2, 0.2, 4, 3, 0.4, 0.4)
A(cap_array, via3, 35.45, 45.975, 0.2, 0.2, 4, 3, 0.4, 0.4)
A(cap_array, via3, 38.95, 45.975, 0.2, 0.2, 4, 3, 0.4, 0.4)
A(cap_array, via3, 42.45, 45.975, 0.2, 0.2, 4, 3, 0.4, 0.4)
A(cap_array, via3, 45.95, 45.975, 0.2, 0.2, 4, 3, 0.4, 0.4)
A(cap_array, via3, 49.45, 45.975, 0.2, 0.2, 4, 3, 0.4, 0.4)
A(cap_array, via3, 52.95, 45.975, 0.2, 0.2, 4, 3, 0.4, 0.4)
A(cap_array, via3, 56.45, 45.975, 0.2, 0.2, 4, 3, 0.4, 0.4)
A(cap_array, via3, 59.95, 45.975, 0.2, 0.2, 4, 3, 0.4, 0.4)
A(cap_array, via3, 0.45, 49.475, 0.2, 0.2, 4, 3, 0.4, 0.4)
A(cap_array, via3, 3.95, 49.475, 0.2, 0.2, 4, 3, 0.4, 0.4)
A(cap_array, via3, 7.45, 49.475, 0.2, 0.2, 4, 3, 0.4, 0.4)
A(cap_array, via3, 10.95, 49.475, 0.2, 0.2, 4, 3, 0.4, 0.4)
A(cap_array, via3, 14.45, 49.475, 0.2, 0.2, 4, 3, 0.4, 0.4)
A(cap_array, via3, 17.95, 49.475, 0.2, 0.2, 4, 3, 0.4, 0.4)
A(cap_array, via3, 21.45, 49.475, 0.2, 0.2, 4, 3, 0.4, 0.4)
A(cap_array, via3, 24.95, 49.475, 0.2, 0.2, 4, 3, 0.4, 0.4)
A(cap_array, via3, 28.45, 49.475, 0.2, 0.2, 4, 3, 0.4, 0.4)
A(cap_array, via3, 31.95, 49.475, 0.2, 0.2, 4, 3, 0.4, 0.4)
A(cap_array, via3, 35.45, 49.475, 0.2, 0.2, 4, 3, 0.4, 0.4)
A(cap_array, via3, 38.95, 49.475, 0.2, 0.2, 4, 3, 0.4, 0.4)
A(cap_array, via3, 42.45, 49.475, 0.2, 0.2, 4, 3, 0.4, 0.4)
A(cap_array, via3, 45.95, 49.475, 0.2, 0.2, 4, 3, 0.4, 0.4)
A(cap_array, via3, 49.45, 49.475, 0.2, 0.2, 4, 3, 0.4, 0.4)
A(cap_array, via3, 52.95, 49.475, 0.2, 0.2, 4, 3, 0.4, 0.4)
A(cap_array, via3, 56.45, 49.475, 0.2, 0.2, 4, 3, 0.4, 0.4)
A(cap_array, via3, 59.95, 49.475, 0.2, 0.2, 4, 3, 0.4, 0.4)
A(cap_array, via3, 0.45, 52.975, 0.2, 0.2, 4, 3, 0.4, 0.4)
A(cap_array, via3, 3.95, 52.975, 0.2, 0.2, 4, 3, 0.4, 0.4)
A(cap_array, via3, 7.45, 52.975, 0.2, 0.2, 4, 3, 0.4, 0.4)
A(cap_array, via3, 10.95, 52.975, 0.2, 0.2, 4, 3, 0.4, 0.4)
A(cap_array, via3, 14.45, 52.975, 0.2, 0.2, 4, 3, 0.4, 0.4)
A(cap_array, via3, 17.95, 52.975, 0.2, 0.2, 4, 3, 0.4, 0.4)
A(cap_array, via3, 21.45, 52.975, 0.2, 0.2, 4, 3, 0.4, 0.4)
A(cap_array, via3, 24.95, 52.975, 0.2, 0.2, 4, 3, 0.4, 0.4)
A(cap_array, via3, 28.45, 52.975, 0.2, 0.2, 4, 3, 0.4, 0.4)
A(cap_array, via3, 31.95, 52.975, 0.2, 0.2, 4, 3, 0.4, 0.4)
A(cap_array, via3, 35.45, 52.975, 0.2, 0.2, 4, 3, 0.4, 0.4)
A(cap_array, via3, 38.95, 52.975, 0.2, 0.2, 4, 3, 0.4, 0.4)
A(cap_array, via3, 42.45, 52.975, 0.2, 0.2, 4, 3, 0.4, 0.4)
A(cap_array, via3, 45.95, 52.975, 0.2, 0.2, 4, 3, 0.4, 0.4)
A(cap_array, via3, 49.45, 52.975, 0.2, 0.2, 4, 3, 0.4, 0.4)
A(cap_array, via3, 52.95, 52.975, 0.2, 0.2, 4, 3, 0.4, 0.4)
A(cap_array, via3, 56.45, 52.975, 0.2, 0.2, 4, 3, 0.4, 0.4)
A(cap_array, via3, 59.95, 52.975, 0.2, 0.2, 4, 3, 0.4, 0.4)
R(cap_array, via3, [(1.05,-7.9,1.25,-7.7), (60.55,-7.9,60.75,-7.7)])
R(cap_array, met4_pin, [(28.9,55.285,29.4,55.785)])
A(cap_array, met4, 0.34, 0.34, 1.62, 1.27, 1, 16, 0, 3.5)
A(cap_array, met4, 3.84, 0.34, 1.62, 0.385, 16, 2, 3.5, 0.885)
A(cap_array, met4, 59.84, 0.34, 1.62, 1.27, 1, 16, 0, 3.5)
A(cap_array, met4, 3.84, 0.725, 54.12, 0.5, 1, 16, 0, 3.5)
A(cap_array, met4, 0.9, 1.61, 0.5, 2.23, 1, 15, 0, 3.5)
A(cap_array, met4, 4.4, 1.61, 0.5, 2.23, 1, 15, 0, 3.5)
A(cap_array, met4, 28.9, 1.61, 0.5, 2.23, 1, 15, 0, 3.5)
A(cap_array, met4, 56.9, 1.61, 0.5, 2.23, 1, 15, 0, 3.5)
A(cap_array, met4, 60.4, 1.61, 0.5, 2.23, 1, 15, 0, 3.5)
A(cap_array, met4, 3.84, 3.84, 1.62, 0.385, 16, 2, 3.5, 0.885)
A(cap_array, met4, 3.84, 7.34, 1.62, 0.385, 16, 2, 3.5, 0.885)
A(cap_array, met4, 3.84, 10.84, 1.62, 0.385, 16, 2, 3.5, 0.885)
A(cap_array, met4, 3.84, 14.34, 1.62, 0.385, 16, 2, 3.5, 0.885)
A(cap_array, met4, 3.84, 17.84, 1.62, 0.385, 16, 2, 3.5, 0.885)
A(cap_array, met4, 3.84, 21.34, 1.62, 0.385, 16, 2, 3.5, 0.885)
A(cap_array, met4, 3.84, 24.84, 1.62, 0.385, 16, 2, 3.5, 0.885)
A(cap_array, met4, 3.84, 28.34, 1.62, 0.385, 16, 2, 3.5, 0.885)
A(cap_array, met4, 3.84, 31.84, 1.62, 0.385, 16, 2, 3.5, 0.885)
A(cap_array, met4, 3.84, 35.34, 1.62, 0.385, 16, 2, 3.5, 0.885)
A(cap_array, met4, 3.84, 38.84, 1.62, 0.385, 16, 2, 3.5, 0.885)
A(cap_array, met4, 3.84, 42.34, 1.62, 0.385, 16, 2, 3.5, 0.885)
A(cap_array, met4, 3.84, 45.84, 1.62, 0.385, 16, 2, 3.5, 0.885)
A(cap_array, met4, 3.84, 49.34, 1.62, 0.385, 16, 2, 3.5, 0.885)
A(cap_array, met4, 3.84, 52.84, 1.62, 0.385, 16, 2, 3.5, 0.885)
R(cap_array, met4, [(0.9,-8.1,1.4,0.34), (60.4,-8.1,60.9,0.34), (28.9,54.11,29.4,55.785)])
A(cap_array, capm, 0.15, 0.15, 2, 1.65, 18, 16, 3.5, 3.5)
cap_array.add(gdstk.Label('vtop', (29.15,55.535), layer=71, texttype=5))
cap_array.add(gdstk.Label('b7', (61,-1.5), layer=69, texttype=5))
cap_array.add(gdstk.Label('b6', (61,-2.2), layer=69, texttype=5))
cap_array.add(gdstk.Label('b5', (61,-2.9), layer=69, texttype=5))
cap_array.add(gdstk.Label('b4', (61,-3.6), layer=69, texttype=5))
cap_array.add(gdstk.Label('b3', (61,-4.3), layer=69, texttype=5))
cap_array.add(gdstk.Label('b2', (61,-5), layer=69, texttype=5))
cap_array.add(gdstk.Label('b1', (61,-5.7), layer=69, texttype=5))
cap_array.add(gdstk.Label('b0', (61,-6.4), layer=69, texttype=5))
cap_array.add(gdstk.Label('bpt', (61,-7.1), layer=69, texttype=5))
cap_array.add(gdstk.Label('VGND', (61,-7.8), layer=69, texttype=5))

lib.write_gds('cap_array.gds')
